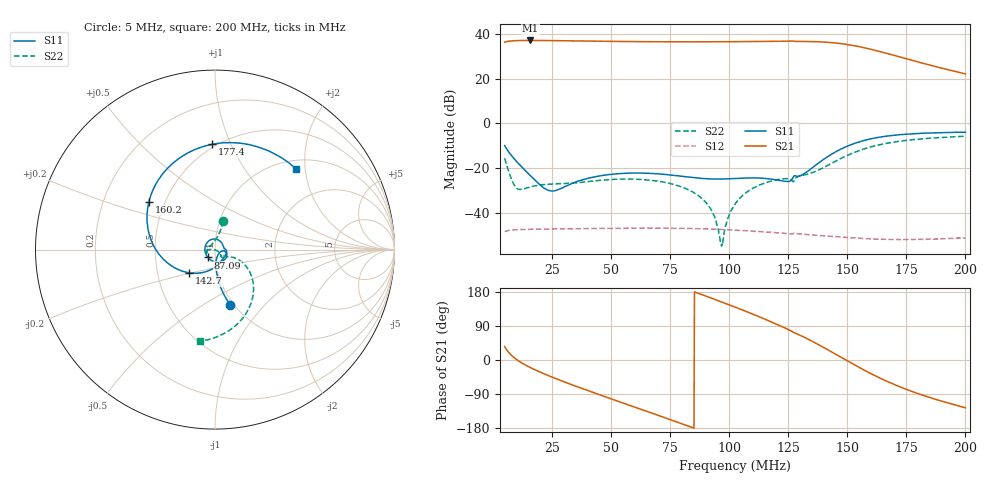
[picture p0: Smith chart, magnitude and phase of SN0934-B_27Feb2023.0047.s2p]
# Hz S DB R 50
! CMT, M5045, 22160017, 22.4.3/2
! Date: 2/27/2023 00:47:27
! Data: Format (Calibration Info)
! Freq	S11:dB/Ang(F2)	S21:dB/Ang(F2)	S12:dB/Ang(F2)	S22:dB/Ang(F2)
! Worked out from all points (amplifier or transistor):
!   1001 points, 5 MHz to 200 MHz, reference 50 ohm
!   highest |S21| = 37.3 dB at 15.92 MHz (marker M1)
!   |S21| within 3 dB of that: start of sweep to 156 MHz
!   unconditionally stable (mu >= 1): start of sweep to end of sweep
!   at 37.37 MHz: K = 1.76, MAG = 37.1 dB, |S12| = -47.2 dB
!   at 102.5 MHz: K = 1.95, MAG = 36.8 dB, |S12| = -47.9 dB
!   at 200 MHz: K = 6.54, MAG = 25.7 dB, |S12| = -51.3 dB
!   S11 on the Smith chart (normalised r, x): 5 MHz: 0.96, -0.66; 87.09 MHz: 0.92, -0.08; 142.7 MHz: 0.73, -0.19; 160.2 MHz: 0.41, +0.28; 177.4 MHz: 0.48, +0.85; 200 MHz: 1.18, +1.78
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5000000  -9.93 -74.6  36.48 35.7  -48.53 38.7  -15.63 74.1
9095000  -15.93 -84.5  37.17 5.8  -47.80 8.3  -27.78 100.6
1.592e7  -23.44 -85.2  37.29 -20.1  -47.52 -17.3  -28.45 165.5
2.6255e7  -30.19 -32.0  37.21 -48.1  -47.42 -44.9  -27.14 -174.9
3.7565e7  -25.39 -8.9  37.04 -74.7  -47.23 -69.9  -26.44 -161.1
4.4975e7  -23.60 -15.4  36.94 -91.3  -47.20 -85.6  -25.56 -157.5
5.297e7  -22.57 -28.2  36.85 -108.9  -47.05 -101.4  -25.04 -157.9
7.013e7  -22.67 -68.8  36.71 -146.3  -47.04 -135.6  -25.94 -167.9
7.8905e7  -23.60 -97.7  36.69 -165.8  -47.15 -153.3  -28.18 -175.2
8.7095e7  -24.54 -132.2  36.69 175.8  -47.25 -169.6  -32.52 177.7
9.4895e7  -24.96 -171.5  36.70 157.7  -47.51 173.9  -45.48 -177.7
1.025e8  -24.73 148.9  36.74 139.6  -47.94 157.0  -36.29 -33.3
1.12445e8  -24.49 98.2  36.83 114.9  -48.53 134.4  -27.88 -41.3
1.2083e8  -25.49 47.3  36.92 92.5  -49.16 113.4  -25.18 -47.5
1.2629e8  -25.54 5.6  37.02 76.5  -49.66 99.5  -25.30 -50.0
1.35065e8  -20.03 -91.1  36.80 49.7  -50.04 68.4  -22.15 -30.6
1.4267e8  -14.25 -138.3  36.39 23.8  -50.72 40.4  -18.28 -22.8
1.50275e8  -10.08 -175.3  35.43 -3.1  -51.28 9.9  -14.22 -27.9
1.6022e8  -6.84 144.0  33.27 -36.7  -51.87 -28.7  -10.46 -44.2
1.6763e8  -5.55 118.9  31.23 -58.6  -52.00 -52.7  -8.73 -57.3
1.7738e8  -4.63 91.5  28.38 -83.0  -52.26 -78.2  -7.32 -72.7
2e8  -3.92 45.0  22.27 -126.1  -51.35 -117.5  -5.74 -99.0
